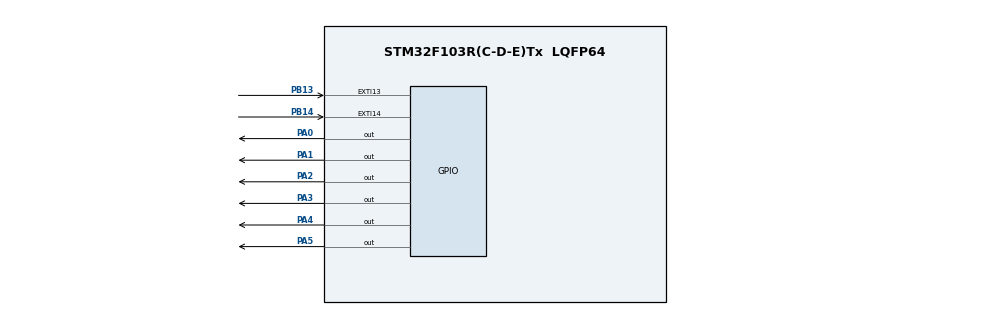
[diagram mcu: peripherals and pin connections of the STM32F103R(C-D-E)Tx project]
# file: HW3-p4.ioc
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Mcu.Family=STM32F1
Mcu.Name=STM32F103R(C-D-E)Tx
Mcu.Package=LQFP64
NVIC.EXTI15_10_IRQn=true\:0\:0\:false\:false\:true\:true\:true\:true
NVIC.PriorityGroup=NVIC_PRIORITYGROUP_4
PA0-WKUP.Signal=GPIO_Output
PA1.Signal=GPIO_Output
PA13.Mode=Serial_Wire
PA13.Signal=SYS_JTMS-SWDIO
PA14.Mode=Serial_Wire
PA14.Signal=SYS_JTCK-SWCLK
PA2.Signal=GPIO_Output
PA3.Signal=GPIO_Output
PA4.Signal=GPIO_Output
PA5.Signal=GPIO_Output
PB13.GPIO_PuPd=GPIO_PULLUP
PB13.Signal=GPXTI13
PB14.GPIO_PuPd=GPIO_PULLUP
PB14.Signal=GPXTI14
PD0-OSC_IN.Mode=HSE-External-Oscillator
PD0-OSC_IN.Signal=RCC_OSC_IN
PD1-OSC_OUT.Mode=HSE-External-Oscillator
PD1-OSC_OUT.Signal=RCC_OSC_OUT
ProjectManager.HeapSize=0x200
ProjectManager.StackSize=0x400
ProjectManager.TargetToolchain=MDK-ARM V5.32
RCC.APB1Freq_Value=8000000
RCC.APB2Freq_Value=8000000
board=custom

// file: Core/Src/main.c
/* USER CODE BEGIN Header */
/**
  ******************************************************************************
  * @file           : main.c
  * @brief          : Main program body
  ******************************************************************************
  * @attention
  *
  * Copyright (c) 2026 STMicroelectronics.
  * All rights reserved.
  *
  * This software is licensed under terms that can be found in the LICENSE file
  * in the root directory of this software component.
  * If no LICENSE file comes with this software, it is provided AS-IS.
  *
  ******************************************************************************
  */
/* USER CODE END Header */
#include "main.h"

/* USER CODE BEGIN Includes */
#include "lcd.h"
#include <stdio.h>
#include <string.h>
/* USER CODE END Includes */

/* USER CODE BEGIN PD */
#define ENC_A_PIN       GPIO_PIN_13
#define ENC_B_PIN       GPIO_PIN_14
#define ENC_PORT      GPIOB

#define RS_PIN          GPIO_PIN_0
#define RS_PORT         GPIOA
#define EN_PIN          GPIO_PIN_1
#define EN_PORT         GPIOA
#define LCD_DATA_PORTS  {GPIOA, GPIOA, GPIOA, GPIOA}
#define LCD_DATA_PINS   {GPIO_PIN_2, GPIO_PIN_3, GPIO_PIN_4, GPIO_PIN_5}

#define PULSES_PER_REV  720

/* USER CODE END PD */

/* USER CODE BEGIN PV */
Lcd_HandleTypeDef lcd;

volatile uint32_t pulse_counter = 0;
volatile int8_t  direction      = 0;     // 1 = FWD, -1 = REV

/* USER CODE END PV */

void SystemClock_Config(void);
static void MX_GPIO_Init(void);
/* USER CODE BEGIN PFP */
void LCD_Update(void);

/* USER CODE END PFP */

/* USER CODE BEGIN 0 */
uint8_t Is_Stable_High(GPIO_TypeDef *port, uint16_t pin)
{
    for (volatile int i = 0; i < 25; i++);
    return (HAL_GPIO_ReadPin(port, pin) == GPIO_PIN_SET);
}
void HAL_GPIO_EXTI_Callback(uint16_t GPIO_Pin)
{
    if (GPIO_Pin == ENC_A_PIN)
    {
        pulse_counter++;

        if (HAL_GPIO_ReadPin(ENC_PORT, ENC_B_PIN) == GPIO_PIN_RESET)
            direction = 1;
        else
            direction = -1;
    }
    else if (GPIO_Pin == ENC_B_PIN)
    {
        if (HAL_GPIO_ReadPin(ENC_PORT, ENC_A_PIN) == GPIO_PIN_SET)
            direction = 1;
        else
            direction = -1;
    }
}
void LCD_Update(void)
{
    uint32_t cnt = pulse_counter;
    double rnd = (double)cnt / PULSES_PER_REV;

    char buf1[16], buf2[16];
    const char *dir = (direction == 1) ? "FWD" : (direction == -1) ? "REV" : "---";

    sprintf(buf1, "revol:%.2f", rnd);
    sprintf(buf2, "Counter:%lu", cnt);

    Lcd_clear(&lcd);
    Lcd_cursor(&lcd, 0, 0);
    Lcd_string(&lcd, buf1);
    Lcd_cursor(&lcd, 0, 11);
    Lcd_string(&lcd, dir);
    Lcd_cursor(&lcd, 1, 0);
    Lcd_string(&lcd, buf2);
}

/* USER CODE END 0 */

int main(void)
{

  /* MCU Configuration--------------------------------------------------------*/

  /* Reset of all peripherals, Initializes the Flash interface and the Systick. */
  HAL_Init();

  /* Configure the system clock */
  SystemClock_Config();

  /* Initialize all configured peripherals */
  MX_GPIO_Init();
  /* USER CODE BEGIN 2 */
    Lcd_PortType ports[] = LCD_DATA_PORTS;
    Lcd_PinType pins[]   = LCD_DATA_PINS;
    lcd = Lcd_create(ports, pins, RS_PORT, RS_PIN, EN_PORT, EN_PIN, LCD_4_BIT_MODE);
    Lcd_clear(&lcd);

LCD_Update();
/* USER CODE END 2 */

  /* Infinite loop */
  while (1)
  {

    /* USER CODE BEGIN 3 */
		  static uint32_t last_cnt = 0;
        if (pulse_counter != last_cnt)
        {
            last_cnt = pulse_counter;
            LCD_Update();
        }
        HAL_Delay(200);
  }
  /* USER CODE END 3 */
}

void SystemClock_Config(void)
{
  RCC_OscInitTypeDef RCC_OscInitStruct = {0};
  RCC_ClkInitTypeDef RCC_ClkInitStruct = {0};

  /** Initializes the RCC Oscillators according to the specified parameters
  * in the RCC_OscInitTypeDef structure.
  */
  RCC_OscInitStruct.OscillatorType = RCC_OSCILLATORTYPE_HSI;
  RCC_OscInitStruct.HSIState = RCC_HSI_ON;
  RCC_OscInitStruct.HSICalibrationValue = RCC_HSICALIBRATION_DEFAULT;
  RCC_OscInitStruct.PLL.PLLState = RCC_PLL_NONE;
  if (HAL_RCC_OscConfig(&RCC_OscInitStruct) != HAL_OK)
  {
    Error_Handler();
  }

  /** Initializes the CPU, AHB and APB buses clocks
  */
  RCC_ClkInitStruct.ClockType = RCC_CLOCKTYPE_HCLK|RCC_CLOCKTYPE_SYSCLK
                              |RCC_CLOCKTYPE_PCLK1|RCC_CLOCKTYPE_PCLK2;
  RCC_ClkInitStruct.SYSCLKSource = RCC_SYSCLKSOURCE_HSI;
  RCC_ClkInitStruct.AHBCLKDivider = RCC_SYSCLK_DIV1;
  RCC_ClkInitStruct.APB1CLKDivider = RCC_HCLK_DIV1;
  RCC_ClkInitStruct.APB2CLKDivider = RCC_HCLK_DIV1;

  if (HAL_RCC_ClockConfig(&RCC_ClkInitStruct, FLASH_LATENCY_0) != HAL_OK)
  {
    Error_Handler();
  }
}

static void MX_GPIO_Init(void)
{
  GPIO_InitTypeDef GPIO_InitStruct = {0};

  /* GPIO Ports Clock Enable */
  __HAL_RCC_GPIOD_CLK_ENABLE();
  __HAL_RCC_GPIOA_CLK_ENABLE();
  __HAL_RCC_GPIOB_CLK_ENABLE();

  /*Configure GPIO pin Output Level */
  HAL_GPIO_WritePin(GPIOA, GPIO_PIN_0|GPIO_PIN_1|GPIO_PIN_2|GPIO_PIN_3
                          |GPIO_PIN_4|GPIO_PIN_5, GPIO_PIN_RESET);

  /*Configure GPIO pins : PA0 PA1 PA2 PA3
                           PA4 PA5 */
  GPIO_InitStruct.Pin = GPIO_PIN_0|GPIO_PIN_1|GPIO_PIN_2|GPIO_PIN_3
                          |GPIO_PIN_4|GPIO_PIN_5;
  GPIO_InitStruct.Mode = GPIO_MODE_OUTPUT_PP;
  GPIO_InitStruct.Pull = GPIO_NOPULL;
  GPIO_InitStruct.Speed = GPIO_SPEED_FREQ_LOW;
  HAL_GPIO_Init(GPIOA, &GPIO_InitStruct);

  /*Configure GPIO pins : PB13 PB14 */
  GPIO_InitStruct.Pin = GPIO_PIN_13|GPIO_PIN_14;
  GPIO_InitStruct.Mode = GPIO_MODE_IT_RISING;
  GPIO_InitStruct.Pull = GPIO_PULLUP;
  HAL_GPIO_Init(GPIOB, &GPIO_InitStruct);

  /* EXTI interrupt init*/
  HAL_NVIC_SetPriority(EXTI15_10_IRQn, 0, 0);
  HAL_NVIC_EnableIRQ(EXTI15_10_IRQn);

}

void Error_Handler(void)
{
  __disable_irq();
  while (1)
  {
  }
}
